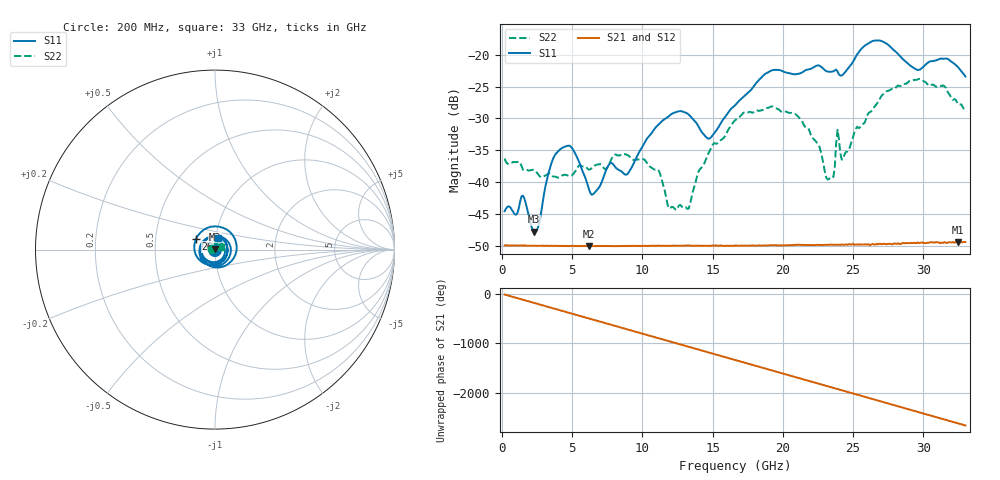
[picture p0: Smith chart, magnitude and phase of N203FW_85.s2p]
# GHZ S RI R 50
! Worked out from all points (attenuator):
!   329 points, 200 MHz to 33 GHz, reference 50 ohm
!   highest |S21| = -49.42 dB at 32.5 GHz (marker M1); lowest = -50.1 dB at 6.2 GHz (marker M2)
!   lowest |S11| = -47.8 dB at 2.3 GHz (marker M3), VSWR 1.01, Z = 50.1 + j0.394 ohm
!   |S11| at or under -10 dB: start of sweep to end of sweep
!   |S22| runs from -44.4 to -23.8 dB; largest |S21 - S12| = 8.8e-05
!   S11 on the Smith chart (normalised r, x): 200 MHz: 1.01, +0.00; 26 GHz: 0.80, +0.10; 33 GHz: 1.03, +0.13
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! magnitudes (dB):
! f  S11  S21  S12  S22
! 200 MHz  -44.6  -50.0  -49.9  -36.3
! 1.5 GHz  -42.1  -50.0  -50.0  -38.0
! 2.3 GHz  -47.8  -50.0  -50.0  -38.1
! 3.8 GHz  -35.7  -50.0  -50.0  -39.2
! 5.7 GHz  -38.0  -50.1  -50.1  -37.5
! 6.2 GHz  -41.1  -50.1  -50.1  -38.1
! 8.9 GHz  -38.8  -50.0  -50.1  -35.7
! 11.2 GHz  -30.9  -50.0  -50.0  -38.3
! 11.9 GHz  -29.6  -50.0  -50.0  -44.1
! 13.3 GHz  -29.4  -50.0  -50.0  -44.2
! 14.8 GHz  -33.1  -50.0  -50.0  -35.1
! 16.6 GHz  -27.9  -50.0  -50.0  -30.3
! 19.3 GHz  -22.4  -49.9  -49.9  -28.1
! 22.1 GHz  -22.1  -49.9  -49.9  -33.0
! 23.5 GHz  -22.6  -49.9  -49.8  -39.4
! 23.9 GHz  -22.6  -49.9  -49.9  -31.8
! 24.2 GHz  -23.2  -49.9  -49.8  -36.5
! 26 GHz  -18.3  -49.8  -49.8  -29.6
! 27.6 GHz  -18.6  -49.7  -49.7  -25.6
! 29.8 GHz  -22.3  -49.6  -49.6  -23.8
! 32.5 GHz  -22.0  -49.4  -49.4  -27.8
! 33 GHz  -23.4  -49.4  -49.5  -28.8
